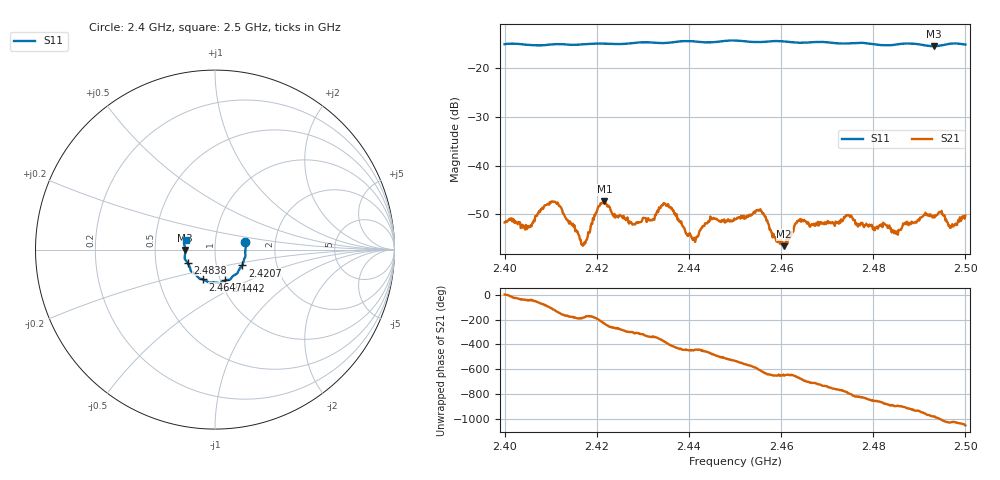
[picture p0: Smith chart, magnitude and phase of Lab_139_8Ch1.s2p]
# Hz S RI R 50
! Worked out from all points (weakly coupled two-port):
!   601 points, 2.4 GHz to 2.5 GHz, reference 50 ohm
!   highest |S21| = -47.32 dB at 2.4217 GHz (marker M1); lowest = -56.5 dB at 2.4607 GHz (marker M2)
!   lowest |S11| = -15.6 dB at 2.4932 GHz (marker M3), VSWR 1.40, Z = 35.8 - j0.122 ohm
!   |S11| at or under -10 dB: start of sweep to end of sweep
!   S12 and S22 are empty: the file has one direction only
!   S11 on the Smith chart (normalised r, x): 2.4 GHz: 1.40, +0.12; 2.4207 GHz: 1.33, -0.24; 2.4442 GHz: 1.05, -0.37; 2.4647 GHz: 0.83, -0.29; 2.4838 GHz: 0.73, -0.11; 2.5 GHz: 0.71, +0.07
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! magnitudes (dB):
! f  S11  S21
! 2.4 GHz  -15.2  -51.6
! 2.4053 GHz  -15.4  -52.6
! 2.4107 GHz  -15.2  -47.5
! 2.4167 GHz  -15.3  -56.1
! 2.4207 GHz  -15.1  -48.2
! 2.4217 GHz  -15.1  -47.3
! 2.4278 GHz  -15.0  -52.1
! 2.4333 GHz  -15.0  -49.5
! 2.4358 GHz  -14.9  -48.5
! 2.441 GHz  -14.6  -54.8
! 2.4442 GHz  -14.9  -51.4
! 2.45 GHz  -14.5  -51.0
! 2.4553 GHz  -14.8  -49.2
! 2.4607 GHz  -14.7  -56.5
! 2.4647 GHz  -14.9  -51.3
! 2.4667 GHz  -14.8  -52.0
! 2.4747 GHz  -15.1  -50.1
! 2.4833 GHz  -15.5  -52.4
! 2.4838 GHz  -15.4  -52.8
! 2.4932 GHz  -15.6  -50.2
! 2.4968 GHz  -15.1  -52.7
! 2.5 GHz  -15.3  -50.2
